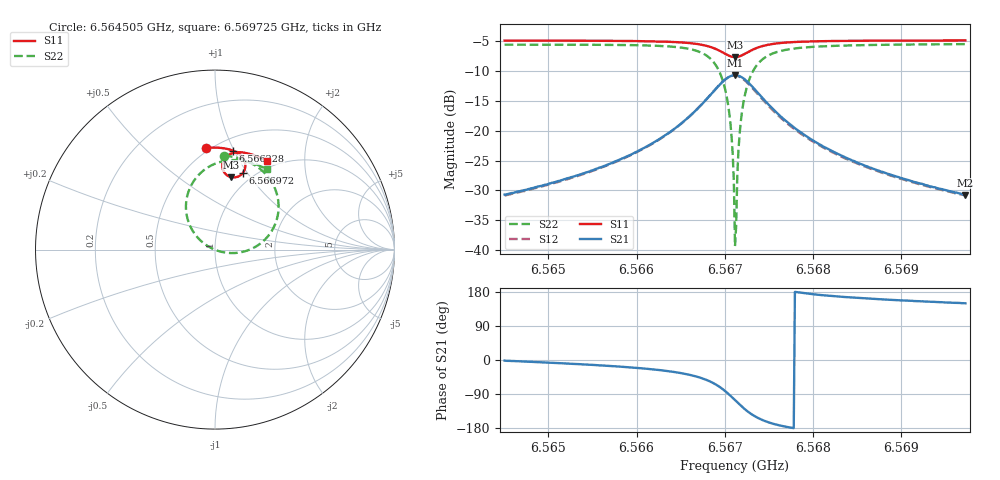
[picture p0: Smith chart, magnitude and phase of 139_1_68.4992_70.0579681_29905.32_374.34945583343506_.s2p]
#  HZ  S  RI  R  50.00
! Rohde & Schwarz Vector Network Analyzer
! Rohde-Schwarz,ZNB20-2Port,1311601062101988,3.16
! Created: UTC 3/20/2024, 5:09:56 PM
! freq[Hz]  re:S11  im:S11  re:S21  im:S21  re:S12  im:S12  re:S22  im:S22
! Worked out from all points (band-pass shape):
!   401 points, 6.564505 GHz to 6.569725 GHz, reference 50 ohm
!   highest |S21| = -10.69 dB at 6.567115 GHz (marker M1); lowest = -30.7 dB at 6.569725 GHz (marker M2)
!   |S21| within 3 dB of the highest: 6.566855 GHz to 6.567377 GHz (521.2 kHz wide, 0.00794 % of centre)
!   lowest |S11| = -7.7 dB at 6.567115 GHz (marker M3), VSWR 2.41, Z = 41.9 + j40.8 ohm
!   |S11| at or under -10 dB: nowhere
!   |S22| runs from -39.3 to -5.5 dB; largest |S21 - S12| = 0.014
!   S11 on the Smith chart (normalised r, x): 6.564505 GHz: 0.47, +0.79; 6.566228 GHz: 0.62, +0.99; 6.566972 GHz: 0.89, +0.95; 6.569725 GHz: 0.90, +1.32
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6.5645053e9  -0.0515 0.5668  0.0292 -0.000828  0.0286 -0.00135  0.0488 0.5235
6.5653796e9  0.0208 0.5675  0.0427 -0.00856  0.0419 -0.00923  0.1333 0.5084
6.5662277e9  0.1015 0.5508  0.0743 -0.0358  0.0732 -0.0367  0.249 0.4513
6.5662538e9  0.1045 0.5496  0.0759 -0.0377  0.0748 -0.0386  0.2539 0.4475
6.5667497e9  0.1629 0.4971  0.1116 -0.1278  0.1091 -0.1304  0.3524 0.2722
6.5668802e9  0.1687 0.4603  0.1009 -0.1921  0.0959 -0.1957  0.3382 0.1495
6.5669715e9  0.1557 0.4275  0.0615 -0.2482  0.0527 -0.2513  0.2664 0.0447
6.5670106e9  0.1429 0.4148  0.0311 -0.2692  0.0208 -0.2709  0.2105 0.00737
6.5670498e9  0.1256 0.4055  -0.007 -0.2832  -0.0192 -0.2825  0.1402 -0.0158
6.5670759e9  0.1121 0.4023  -0.0359 -0.2867  -0.0482 -0.284  0.0883 -0.0193
6.567102e9  0.0979 0.4022  -0.0653 -0.2843  -0.078 -0.2795  0.0354 -0.0125
6.567115e9  0.0908 0.4034  -0.0802 -0.281  -0.0925 -0.2748  0.0097 -0.00475
6.5671281e9  0.0839 0.4054  -0.0945 -0.2761  -0.1063 -0.2689  -0.0149 0.00544
6.5671411e9  0.0772 0.408  -0.1081 -0.27  -0.1195 -0.2619  -0.0384 0.0182
6.5671672e9  0.0652 0.4154  -0.133 -0.2541  -0.1427 -0.2442  -0.0797 0.0494
6.5671933e9  0.0553 0.4249  -0.1536 -0.2344  -0.1613 -0.2233  -0.1127 0.0867
6.5672455e9  0.0434 0.4472  -0.1801 -0.19  -0.1842 -0.1781  -0.1522 0.1683
6.5673108e9  0.0409 0.4746  -0.1904 -0.1367  -0.1906 -0.1261  -0.1608 0.2624
6.5675587e9  0.0794 0.5296  -0.146 -0.0283  -0.1426 -0.024  -0.0589 0.445
6.5679893e9  0.1425 0.5423  -0.0834 0.00886  -0.0814 0.0103  0.0807 0.4979
6.5688635e9  0.2257 0.5225  -0.0404 0.0155  -0.0394 0.0157  0.2115 0.4812
6.5697247e9  0.2898 0.4917  -0.025 0.0147  -0.0245 0.0148  0.2889 0.4464
